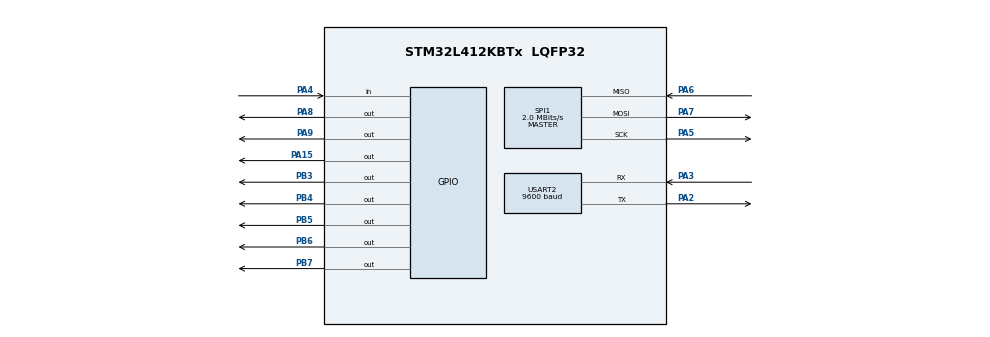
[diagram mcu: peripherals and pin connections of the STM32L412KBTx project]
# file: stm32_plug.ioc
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Dma.Request0=USART2_RX
Dma.USART2_RX.0.Direction=DMA_PERIPH_TO_MEMORY
Dma.USART2_RX.0.Instance=DMA1_Channel6
Dma.USART2_RX.0.MemDataAlignment=DMA_MDATAALIGN_BYTE
Dma.USART2_RX.0.MemInc=DMA_MINC_ENABLE
Dma.USART2_RX.0.Mode=DMA_CIRCULAR
Dma.USART2_RX.0.PeriphDataAlignment=DMA_PDATAALIGN_BYTE
Dma.USART2_RX.0.PeriphInc=DMA_PINC_DISABLE
Dma.USART2_RX.0.Priority=DMA_PRIORITY_LOW
Mcu.Family=STM32L4
Mcu.Name=STM32L412KBTx
Mcu.Package=LQFP32
NVIC.DMA1_Channel6_IRQn=true\:0\:0\:false\:false\:true\:false\:true\:true
NVIC.PriorityGroup=NVIC_PRIORITYGROUP_4
NVIC.USART2_IRQn=true\:0\:0\:false\:false\:true\:true\:true\:true
PA13\ (JTMS/SWDIO).Mode=Serial_Wire
PA13\ (JTMS/SWDIO).Signal=SYS_JTMS-SWDIO
PA14\ (JTCK/SWCLK).Mode=Serial_Wire
PA14\ (JTCK/SWCLK).Signal=SYS_JTCK-SWCLK
PA15\ (JTDI).Signal=GPIO_Output
PA2.Mode=Asynchronous
PA2.Signal=USART2_TX
PA3.Mode=Asynchronous
PA3.Signal=USART2_RX
PA4.Signal=GPIO_Input
PA5.Mode=Full_Duplex_Master
PA5.Signal=SPI1_SCK
PA6.Mode=Full_Duplex_Master
PA6.Signal=SPI1_MISO
PA7.Mode=Full_Duplex_Master
PA7.Signal=SPI1_MOSI
PA8.Signal=GPIO_Output
PA9.Signal=GPIO_Output
PB3\ (JTDO/TRACESWO).GPIO_PuPd=GPIO_PULLUP
PB3\ (JTDO/TRACESWO).Signal=GPIO_Output
PB4\ (NJTRST).Signal=GPIO_Output
PB5.GPIO_PuPd=GPIO_PULLUP
PB5.Signal=GPIO_Output
PB6.GPIO_PuPd=GPIO_PULLUP
PB6.Signal=GPIO_Output
PB7.GPIO_PuPd=GPIO_PULLUP
PB7.Signal=GPIO_Output
ProjectManager.HeapSize=0x200
ProjectManager.StackSize=0x400
ProjectManager.TargetToolchain=STM32CubeIDE
RCC.ADCFreq_Value=4000000
RCC.HSE_VALUE=8000000
RCC.HSI48_VALUE=48000000
RCC.HSI_VALUE=16000000
RCC.LSE_VALUE=32768
RCC.MSI_VALUE=4000000
RCC.USBFreq_Value=4000000
RCC.VCOOutputFreq_Value=32000000
SPI1.CalculateBaudRate=2.0 MBits/s
SPI1.Direction=SPI_DIRECTION_2LINES
SPI1.Mode=SPI_MODE_MASTER
SPI1.VirtualType=VM_MASTER
USART2.BaudRate=9600
USART2.VirtualMode-Asynchronous=VM_ASYNC
board=custom

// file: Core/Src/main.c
/* USER CODE BEGIN Header */
/**
  ******************************************************************************
  * @file           : main.c
  * @brief          : Main program body
  ******************************************************************************
  * @attention
  *
  * Copyright (c) 2023 STMicroelectronics.
  * All rights reserved.
  *
  * This software is licensed under terms that can be found in the LICENSE file
  * in the root directory of this software component.
  * If no LICENSE file comes with this software, it is provided AS-IS.
  *
  ******************************************************************************
  */
/* USER CODE END Header */
#include "main.h"
/* USER CODE BEGIN Includes */
#include "NRF24.h"
/* USER CODE END Includes */

SPI_HandleTypeDef hspi1;

UART_HandleTypeDef huart2;
DMA_HandleTypeDef hdma_usart2_rx;

void SystemClock_Config(void);
static void MX_GPIO_Init(void);
static void MX_DMA_Init(void);
static void MX_SPI1_Init(void);
static void MX_USART2_UART_Init(void);

int main(void)
{

  /* MCU Configuration--------------------------------------------------------*/

  /* Reset of all peripherals, Initializes the Flash interface and the Systick. */
  HAL_Init();

  /* Configure the system clock */
  SystemClock_Config();

  /* Initialize all configured peripherals */
  MX_GPIO_Init();
  MX_DMA_Init();
  MX_SPI1_Init();
  MX_USART2_UART_Init();
  /* USER CODE BEGIN 2 */

  //Constants and variables declaration
  uint8_t Data_Latch_Pin = 4;
  uint8_t Data_Clock_Pin = 3;
  uint8_t Serial_Data_Pin = 5;
  GPIO_PinState Data_Latch = GPIO_PIN_RESET;
  GPIO_PinState Data_Clock = GPIO_PIN_RESET;
  GPIO_PinState Serial_Data = GPIO_PIN_RESET;

  //uint8_t Serial_Data_2_Pin = 6;
  //uint8_t IO_Bit=7;
  //uint8_t Pairing_Button = 4;

  uint8_t i = 0;

  //Pin (bit) number of the different buttons
  uint16_t B_Pin = 11;
  uint16_t Y_Pin = 9;
  uint16_t Select_Pin = 12;
  uint16_t Start_Pin = 4;
  uint16_t Cross_Up_Pin = 0;
  uint16_t Cross_Down_Pin = 1;
  uint16_t Cross_Left_Pin = 2;
  uint16_t Cross_Right_Pin = 3;
  uint16_t A_Pin = 10;
  uint16_t X_Pin = 8;
  uint16_t L_Pin = 13;
  uint16_t R_Pin = 5;

  uint8_t NRF_Data[2] = {0,0};
  uint16_t Button_Data = 0;
  uint8_t Bit_Number[16] = {B_Pin, Y_Pin, Select_Pin, Start_Pin, Cross_Up_Pin, Cross_Down_Pin, Cross_Left_Pin, Cross_Right_Pin, A_Pin, X_Pin, L_Pin, R_Pin, 0, 0, 0, 0};
  uint8_t step = 0;

  //NRF24 Initialization
  uint64_t RxpipeAddrs = 0x11223344AA;
  char myAckPayload[32] = "Ack by LM!";

  NRF24_begin(hspi1);
  NRF24_setAutoAck(true);
  NRF24_setChannel(52);
  NRF24_setPayloadSize(32);
  NRF24_openReadingPipe(1, RxpipeAddrs);
  NRF24_enableDynamicPayloads();
  NRF24_enableAckPayload();

  NRF24_startListening();

  HAL_Delay(1000);

  /* USER CODE END 2 */

  /* Infinite loop */
  /* USER CODE BEGIN WHILE */
  while (1)
  {

	  //Loop that detects the Data_Latch rising edge while updating the controller state
	  do {
		  //Wireless data reception
		  NRF24_read(NRF_Data, 2);
		  NRF24_writeAckPayload(1, myAckPayload, 2);
		  Button_Data = ((NRF_Data[1]<<8)||NRF_Data[0]);

		  Data_Latch = HAL_GPIO_ReadPin(GPIOB, Data_Latch_Pin);
	  }
	  while(Data_Latch == 0);

	  //When the rising edge is detected, transmission of the button states begins:
	  for(i=0;i<16; i++){

		  if ((Button_Data && Bit_Number[i]) == 0){
			  HAL_GPIO_WritePin(GPIOB, Serial_Data_Pin, GPIO_PIN_SET);
		  }
		  else{
			  HAL_GPIO_WritePin(GPIOB, Serial_Data_Pin, GPIO_PIN_RESET);
		  }

		  do{
			  Data_Clock = HAL_GPIO_ReadPin(GPIOB, Data_Clock_Pin);
		  }
		  while(Data_Clock == 1);
		  do{
			  Data_Clock = HAL_GPIO_ReadPin(GPIOB, Data_Clock_Pin);
		  }
		  while(Data_Clock == 0);
	  }
	  HAL_GPIO_WritePin(GPIOB, Serial_Data_Pin, GPIO_PIN_RESET);
	  /*
	  if(step<600){
		  if(Button_Data ==0){
	  	  		  Button_Data = 16;
	  	  	  }
	  	  else{
	  	  		  Button_Data = 0;
	  	  	  }
	  }
	  if((step>=600)){
		  if(Button_Data ==0){
			  Button_Data = 1024;
		  }
		  else{
			  Button_Data = 0;
		  	  }

	  }
	  step++;
	  HAL_UART_Transmit(&huart2,&step,1,HAL_MAX_DELAY);
	  */
    /* USER CODE END WHILE */

  }
}

void SystemClock_Config(void)
{
  RCC_OscInitTypeDef RCC_OscInitStruct = {0};
  RCC_ClkInitTypeDef RCC_ClkInitStruct = {0};

  /** Configure the main internal regulator output voltage
  */
  if (HAL_PWREx_ControlVoltageScaling(PWR_REGULATOR_VOLTAGE_SCALE1) != HAL_OK)
  {
    Error_Handler();
  }

  /** Initializes the RCC Oscillators according to the specified parameters
  * in the RCC_OscInitTypeDef structure.
  */
  RCC_OscInitStruct.OscillatorType = RCC_OSCILLATORTYPE_MSI;
  RCC_OscInitStruct.MSIState = RCC_MSI_ON;
  RCC_OscInitStruct.MSICalibrationValue = 0;
  RCC_OscInitStruct.MSIClockRange = RCC_MSIRANGE_6;
  RCC_OscInitStruct.PLL.PLLState = RCC_PLL_NONE;
  if (HAL_RCC_OscConfig(&RCC_OscInitStruct) != HAL_OK)
  {
    Error_Handler();
  }

  /** Initializes the CPU, AHB and APB buses clocks
  */
  RCC_ClkInitStruct.ClockType = RCC_CLOCKTYPE_HCLK|RCC_CLOCKTYPE_SYSCLK
                              |RCC_CLOCKTYPE_PCLK1|RCC_CLOCKTYPE_PCLK2;
  RCC_ClkInitStruct.SYSCLKSource = RCC_SYSCLKSOURCE_MSI;
  RCC_ClkInitStruct.AHBCLKDivider = RCC_SYSCLK_DIV1;
  RCC_ClkInitStruct.APB1CLKDivider = RCC_HCLK_DIV1;
  RCC_ClkInitStruct.APB2CLKDivider = RCC_HCLK_DIV1;

  if (HAL_RCC_ClockConfig(&RCC_ClkInitStruct, FLASH_LATENCY_0) != HAL_OK)
  {
    Error_Handler();
  }
}

static void MX_SPI1_Init(void)
{

  /* SPI1 parameter configuration*/
  hspi1.Instance = SPI1;
  hspi1.Init.Mode = SPI_MODE_MASTER;
  hspi1.Init.Direction = SPI_DIRECTION_2LINES;
  hspi1.Init.DataSize = SPI_DATASIZE_4BIT;
  hspi1.Init.CLKPolarity = SPI_POLARITY_LOW;
  hspi1.Init.CLKPhase = SPI_PHASE_1EDGE;
  hspi1.Init.NSS = SPI_NSS_SOFT;
  hspi1.Init.BaudRatePrescaler = SPI_BAUDRATEPRESCALER_2;
  hspi1.Init.FirstBit = SPI_FIRSTBIT_MSB;
  hspi1.Init.TIMode = SPI_TIMODE_DISABLE;
  hspi1.Init.CRCCalculation = SPI_CRCCALCULATION_DISABLE;
  hspi1.Init.CRCPolynomial = 7;
  hspi1.Init.CRCLength = SPI_CRC_LENGTH_DATASIZE;
  hspi1.Init.NSSPMode = SPI_NSS_PULSE_ENABLE;
  if (HAL_SPI_Init(&hspi1) != HAL_OK)
  {
    Error_Handler();
  }

}

static void MX_USART2_UART_Init(void)
{

  huart2.Instance = USART2;
  huart2.Init.BaudRate = 9600;
  huart2.Init.WordLength = UART_WORDLENGTH_8B;
  huart2.Init.StopBits = UART_STOPBITS_1;
  huart2.Init.Parity = UART_PARITY_NONE;
  huart2.Init.Mode = UART_MODE_TX_RX;
  huart2.Init.HwFlowCtl = UART_HWCONTROL_NONE;
  huart2.Init.OverSampling = UART_OVERSAMPLING_16;
  huart2.Init.OneBitSampling = UART_ONE_BIT_SAMPLE_DISABLE;
  huart2.AdvancedInit.AdvFeatureInit = UART_ADVFEATURE_NO_INIT;
  if (HAL_UART_Init(&huart2) != HAL_OK)
  {
    Error_Handler();
  }

}

static void MX_DMA_Init(void)
{

  /* DMA controller clock enable */
  __HAL_RCC_DMA1_CLK_ENABLE();

  /* DMA interrupt init */
  /* DMA1_Channel6_IRQn interrupt configuration */
  HAL_NVIC_SetPriority(DMA1_Channel6_IRQn, 0, 0);
  HAL_NVIC_EnableIRQ(DMA1_Channel6_IRQn);

}

static void MX_GPIO_Init(void)
{
  GPIO_InitTypeDef GPIO_InitStruct = {0};

  /* GPIO Ports Clock Enable */
  __HAL_RCC_GPIOA_CLK_ENABLE();
  __HAL_RCC_GPIOB_CLK_ENABLE();

  /*Configure GPIO pin Output Level */
  HAL_GPIO_WritePin(GPIOA, GPIO_PIN_8|GPIO_PIN_9|GPIO_PIN_15, GPIO_PIN_RESET);

  /*Configure GPIO pin Output Level */
  HAL_GPIO_WritePin(GPIOB, GPIO_PIN_3|GPIO_PIN_4|GPIO_PIN_5|GPIO_PIN_6
                          |GPIO_PIN_7, GPIO_PIN_RESET);

  /*Configure GPIO pin : PA4 */
  GPIO_InitStruct.Pin = GPIO_PIN_4;
  GPIO_InitStruct.Mode = GPIO_MODE_INPUT;
  GPIO_InitStruct.Pull = GPIO_NOPULL;
  HAL_GPIO_Init(GPIOA, &GPIO_InitStruct);

  /*Configure GPIO pins : PA8 PA9 PA15 */
  GPIO_InitStruct.Pin = GPIO_PIN_8|GPIO_PIN_9|GPIO_PIN_15;
  GPIO_InitStruct.Mode = GPIO_MODE_OUTPUT_PP;
  GPIO_InitStruct.Pull = GPIO_NOPULL;
  GPIO_InitStruct.Speed = GPIO_SPEED_FREQ_LOW;
  HAL_GPIO_Init(GPIOA, &GPIO_InitStruct);

  /*Configure GPIO pins : PB3 PB5 PB6 PB7 */
  GPIO_InitStruct.Pin = GPIO_PIN_3|GPIO_PIN_5|GPIO_PIN_6|GPIO_PIN_7;
  GPIO_InitStruct.Mode = GPIO_MODE_OUTPUT_PP;
  GPIO_InitStruct.Pull = GPIO_PULLUP;
  GPIO_InitStruct.Speed = GPIO_SPEED_FREQ_LOW;
  HAL_GPIO_Init(GPIOB, &GPIO_InitStruct);

  /*Configure GPIO pin : PB4 */
  GPIO_InitStruct.Pin = GPIO_PIN_4;
  GPIO_InitStruct.Mode = GPIO_MODE_OUTPUT_PP;
  GPIO_InitStruct.Pull = GPIO_NOPULL;
  GPIO_InitStruct.Speed = GPIO_SPEED_FREQ_LOW;
  HAL_GPIO_Init(GPIOB, &GPIO_InitStruct);

}

void Error_Handler(void)
{
  __disable_irq();
  while (1)
  {
  }
}
